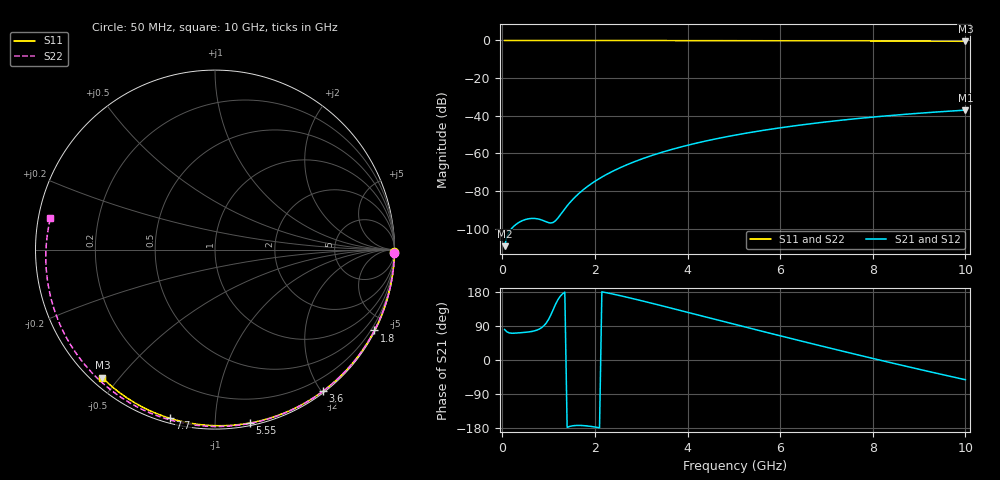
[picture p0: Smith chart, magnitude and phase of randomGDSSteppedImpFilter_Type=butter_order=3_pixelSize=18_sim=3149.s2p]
! freq	dB(S11)	phase(S11)	dB(S12)	phase(S12)
!  dB(S21)	phase(S21)	dB(S22)	phase(S22)
!S-par simulation data
#  GHz  S  DB  R 50
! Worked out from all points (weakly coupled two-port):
!   200 points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, 50 MHz to 10 GHz, reference 50 ohm
!   highest |S21| = -37.05 dB at 10 GHz (marker M1); lowest = -109.4 dB at 50 MHz (marker M2)
!   lowest |S11| = -0.4 dB at 10 GHz (marker M3), VSWR 39.23, Z = 1.54 - j22.6 ohm
!   |S11| at or under -10 dB: nowhere
!   |S22| runs from -0.6 to 0.0 dB; largest |S21 - S12| = 0
!   S11 on the Smith chart (normalised r, x): 50 MHz: open; 1.8 GHz: 0.04, -4.18; 3.6 GHz: 0.02, -2.02; 5.55 GHz: 0.02, -1.22; 7.7 GHz: 0.02, -0.77; 10 GHz: 0.03, -0.45
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0.05  -0.00 -0.8  -109.37 80.4  -109.37 80.4  -0.00 -1.1
0.45  -0.01 -6.8  -95.63 72.5  -95.63 72.5  -0.01 -10.1
0.85  -0.02 -12.8  -95.45 85.5  -95.45 85.5  -0.02 -18.9
1.25  -0.02 -18.8  -92.83 168.0  -92.83 168.0  -0.03 -27.7
1.7  -0.03 -25.4  -80.36 -172.7  -80.36 -172.7  -0.05 -37.4
1.75  -0.03 -26.2  -79.34 -173.1  -79.34 -173.1  -0.05 -38.4
1.8  -0.03 -26.9  -78.36 -173.6  -78.36 -173.6  -0.05 -39.5
2.1  -0.04 -31.3  -73.36 -178.9  -73.36 -178.9  -0.06 -45.8
2.5  -0.05 -37.1  -68.17 171.0  -68.17 171.0  -0.07 -54.2
2.9  -0.06 -42.8  -64.02 159.6  -64.02 159.6  -0.08 -62.4
3.4  -0.07 -49.8  -59.82 144.5  -59.82 144.5  -0.10 -72.3
3.6  -0.07 -52.6  -58.36 138.3  -58.36 138.3  -0.10 -76.3
4.3  -0.09 -62.2  -53.98 116.5  -53.98 116.5  -0.13 -89.6
5.05  -0.11 -72.1  -50.23 93.1  -50.23 93.1  -0.16 -103.5
5.55  -0.13 -78.6  -48.13 77.7  -48.13 77.7  -0.18 -112.4
6.1  -0.15 -85.5  -46.10 60.8  -46.10 60.8  -0.22 -122.1
6.7  -0.18 -92.9  -44.16 42.6  -44.16 42.6  -0.26 -132.5
7.2  -0.21 -99.0  -42.73 27.7  -42.73 27.7  -0.29 -141.1
7.7  -0.24 -104.9  -41.45 12.9  -41.45 12.9  -0.34 -149.7
8.35  -0.29 -112.5  -39.97 -6.0  -39.97 -6.0  -0.40 -160.9
9.2  -0.36 -122.2  -38.34 -30.1  -38.34 -30.1  -0.50 -176.0
10  -0.44 -131.3  -37.05 -52.1  -37.05 -52.1  -0.60 169.3
